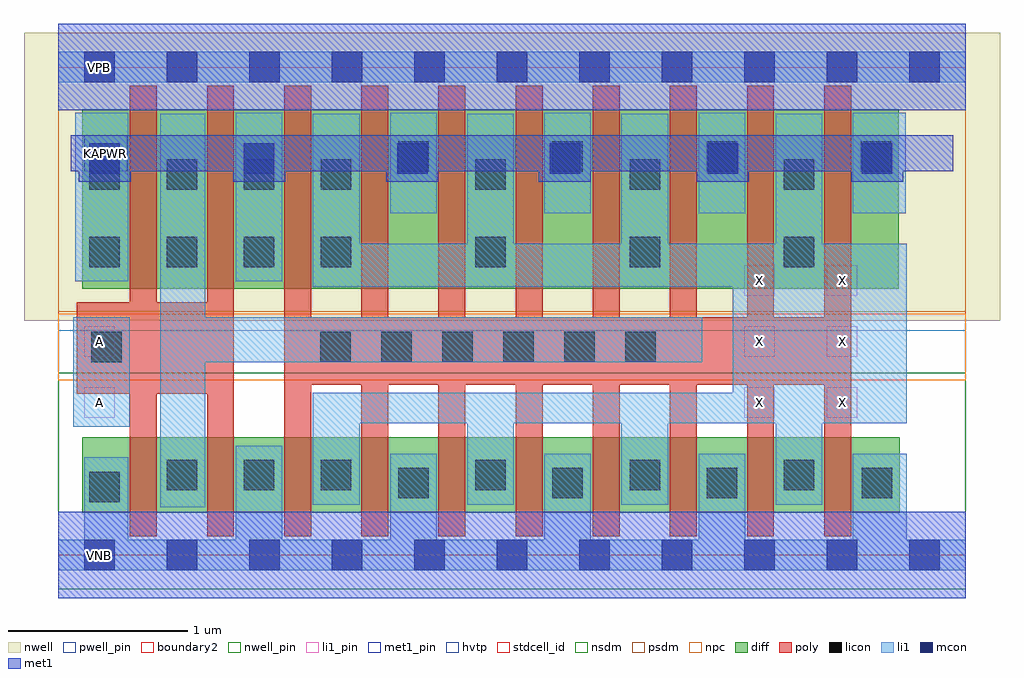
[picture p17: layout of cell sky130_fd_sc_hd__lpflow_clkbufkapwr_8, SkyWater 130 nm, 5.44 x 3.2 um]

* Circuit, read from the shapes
.subckt sky130_fd_sc_hd__lpflow_clkbufkapwr_8 A KAPWR VGND VNB VPB VPWR X
XM1 n1 A VGND VNB sky130_fd_pr__nfet_01v8 w=0.42 l=0.15 m=2
XM2 X n1 VGND VNB sky130_fd_pr__nfet_01v8 w=0.42 l=0.15 m=8
XM3 n1 A KAPWR VPB sky130_fd_pr__pfet_01v8_hvt w=1 l=0.15 m=2
XM4 X n1 KAPWR VPB sky130_fd_pr__pfet_01v8_hvt w=1 l=0.15 m=8
.ends

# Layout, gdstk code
import gdstk
lib = gdstk.Library(unit=1e-6, precision=1e-09)
def R(c, l, rs):  # rectangles x0, y0, x1, y1
    for r in rs: c.add(gdstk.rectangle(r[:2], r[2:], *l))
def A(c, l, x, y, w, h, nx, ny, dx, dy):  # array of equal rectangles
    R(c, l, [(x+i*dx, y+j*dy, x+i*dx+w, y+j*dy+h) for i in range(nx) for j in range(ny)])
def P(c, l, *ps):  # polygons
    for p in ps: c.add(gdstk.Polygon(p, *l))
nwell_pin = (64, 16)
nwell = (64, 20)
diff = (65, 20)
poly = (66, 20)
licon = (66, 44)
li1_pin = (67, 16)
li1 = (67, 20)
mcon = (67, 44)
met1_pin = (68, 16)
met1 = (68, 20)
hvtp = (78, 44)
stdcell_id = (81, 4)
nsdm = (93, 44)
psdm = (94, 20)
npc = (95, 20)
pwell_pin = (122, 16)
boundary2 = (236, 0)

sky130_fd_sc_hd__lpflow_ = lib.new_cell('sky130_fd_sc_hd__lpflow_clkbufkapwr_8')
R(sky130_fd_sc_hd__lpflow_, nwell_pin, [(0.145,2.635,0.315,2.805)])
R(sky130_fd_sc_hd__lpflow_, nwell, [(-0.19,1.305,5.25,2.91)])
R(sky130_fd_sc_hd__lpflow_, diff, [(0.135,0.235,4.69,0.655), (0.135,1.485,4.685,2.485), (0.135,1.485,4.685,2.485), (0.135,1.485,4.685,2.485)])
P(sky130_fd_sc_hd__lpflow_, poly, [(0.98,2.615),(0.83,2.615),(0.83,1.41),(0.55,1.41),(0.55,2.615),(0.4,2.615),(0.4,1.41),(0.105,1.41),(0.105,0.9),(0.4,0.9),(0.4,0.105),(0.55,0.105),(0.55,0.9),(0.83,0.9),(0.83,0.105),(0.98,0.105)],
  [(4.42,2.615),(4.27,2.615),(4.27,1.325),(3.99,1.325),(3.99,2.615),(3.84,2.615),(3.84,1.325),(3.56,1.325),(3.56,2.615),(3.41,2.615),(3.41,1.325),(3.13,1.325),(3.13,2.615),(2.98,2.615),(2.98,1.325),(2.7,1.325),(2.7,2.615),(2.55,2.615),(2.55,1.325),(2.27,1.325),(2.27,2.615),(2.12,2.615),(2.12,1.325),(1.84,1.325),(1.84,2.615),(1.69,2.615),(1.69,1.325),(1.41,1.325),(1.41,2.615),(1.26,2.615),(1.26,0.105),(1.41,0.105),(1.41,0.95),(1.69,0.95),(1.69,0.105),(1.84,0.105),(1.84,0.95),(2.12,0.95),(2.12,0.105),(2.27,0.105),(2.27,0.95),(2.55,0.95),(2.55,0.105),(2.7,0.105),(2.7,0.95),(2.98,0.95),(2.98,0.105),(3.13,0.105),(3.13,0.95),(3.41,0.95),(3.41,0.105),(3.56,0.105),(3.56,0.95),(3.84,0.95),(3.84,0.105),(3.99,0.105),(3.99,0.95),(4.27,0.95),(4.27,0.105),(4.42,0.105)])
A(sky130_fd_sc_hd__lpflow_, licon, 1.895, 0.315, 0.17, 0.17, 3, 1, 0.86, 0)
A(sky130_fd_sc_hd__lpflow_, licon, 0.605, 0.36, 0.17, 0.17, 3, 1, 0.43, 0)
A(sky130_fd_sc_hd__lpflow_, licon, 2.325, 0.36, 0.17, 0.17, 3, 2, 0.86, 1.245)
A(sky130_fd_sc_hd__lpflow_, licon, 1.46, 1.075, 0.17, 0.17, 6, 1, 0.34, 0)
A(sky130_fd_sc_hd__lpflow_, licon, 0.175, 1.605, 0.17, 0.17, 4, 2, 0.43, 0.43)
A(sky130_fd_sc_hd__lpflow_, licon, 2.325, 2.035, 0.17, 0.17, 3, 1, 0.86, 0)
A(sky130_fd_sc_hd__lpflow_, licon, 1.895, 2.135, 0.17, 0.17, 4, 1, 0.86, 0)
R(sky130_fd_sc_hd__lpflow_, licon, [(0.175,0.295,0.345,0.465), (4.48,0.315,4.65,0.485), (0.185,1.075,0.355,1.245)])
A(sky130_fd_sc_hd__lpflow_, li1_pin, 3.825, 0.765, 0.17, 0.17, 1, 3, 0, 0.34)
A(sky130_fd_sc_hd__lpflow_, li1_pin, 4.285, 0.765, 0.17, 0.17, 1, 3, 0, 0.34)
R(sky130_fd_sc_hd__lpflow_, li1_pin, [(0.145,0.765,0.315,0.935), (0.145,1.105,0.315,1.275)])
A(sky130_fd_sc_hd__lpflow_, li1, 1.85, 1.905, 0.26, 0.56, 3, 1, 0.86, 0)
R(sky130_fd_sc_hd__lpflow_, li1, [(0.085,0.715,0.4,1.325), (0.095,1.525,0.39,2.465), (0.99,1.525,1.25,2.465), (4.43,1.905,4.725,2.465), (0,2.635,5.06,2.805)])
P(sky130_fd_sc_hd__lpflow_, li1, [(5.06,0.085),(4.73,0.085),(4.73,0.565),(4.43,0.565),(4.43,0.085),(3.83,0.085),(3.83,0.565),(3.57,0.565),(3.57,0.085),(2.97,0.085),(2.97,0.565),(2.71,0.565),(2.71,0.085),(2.11,0.085),(2.11,0.565),(1.85,0.565),(1.85,0.085),(1.25,0.085),(1.25,0.61),(0.99,0.61),(0.99,0.085),(0.39,0.085),(0.39,0.545),(0.145,0.545),(0.145,0.085),(0,0.085),(0,-0.085),(5.06,-0.085)],
  [(3.59,1.325),(0.82,1.325),(0.82,2.46),(0.57,2.46),(0.57,0.265),(0.82,0.265),(0.82,1.075),(3.59,1.075)],
  [(4.73,1.735),(4.26,1.735),(4.26,2.46),(4,2.46),(4,1.735),(3.4,1.735),(3.4,2.46),(3.14,2.46),(3.14,1.735),(2.54,1.735),(2.54,2.46),(2.28,2.46),(2.28,1.735),(1.68,1.735),(1.68,2.46),(1.42,2.46),(1.42,1.495),(3.76,1.495),(3.76,0.905),(1.42,0.905),(1.42,0.28),(1.68,0.28),(1.68,0.735),(2.28,0.735),(2.28,0.28),(2.54,0.28),(2.54,0.735),(3.14,0.735),(3.14,0.28),(3.4,0.28),(3.4,0.735),(4,0.735),(4,0.28),(4.26,0.28),(4.26,0.735),(4.73,0.735)])
A(sky130_fd_sc_hd__lpflow_, mcon, 0.145, -0.085, 0.17, 0.17, 11, 2, 0.46, 2.72)
R(sky130_fd_sc_hd__lpflow_, mcon, [(0.175,2.125,0.345,2.295), (1.035,2.125,1.205,2.295), (1.89,2.125,2.06,2.295), (2.74,2.125,2.91,2.295), (3.62,2.125,3.79,2.295), (4.48,2.125,4.65,2.295)])
R(sky130_fd_sc_hd__lpflow_, met1_pin, [(0.145,-0.085,0.315,0.085), (0.145,2.14,0.385,2.34), (0.145,2.635,0.315,2.805)])
P(sky130_fd_sc_hd__lpflow_, met1, [(4.99,2.34),(0.07,2.34),(0.07,2.14),(0.115,2.14),(0.115,2.08),(0.405,2.08),(0.405,2.14),(0.975,2.14),(0.975,2.08),(1.265,2.08),(1.265,2.14),(1.83,2.14),(1.83,2.08),(2.12,2.08),(2.12,2.14),(2.68,2.14),(2.68,2.08),(2.97,2.08),(2.97,2.14),(3.56,2.14),(3.56,2.08),(3.85,2.08),(3.85,2.14),(4.42,2.14),(4.42,2.08),(4.71,2.08),(4.71,2.14),(4.99,2.14)])
R(sky130_fd_sc_hd__lpflow_, hvtp, [(0,1.25,5.06,2.72)])
R(sky130_fd_sc_hd__lpflow_, stdcell_id, [(0,0,5.06,2.72)])
R(sky130_fd_sc_hd__lpflow_, nsdm, [(0,-0.19,5.06,1.015)])
R(sky130_fd_sc_hd__lpflow_, psdm, [(0,1.355,5.06,2.91)])
R(sky130_fd_sc_hd__lpflow_, npc, [(0,0.975,5.06,1.345)])
R(sky130_fd_sc_hd__lpflow_, pwell_pin, [(0.145,-0.085,0.315,0.085)])
R(sky130_fd_sc_hd__lpflow_, boundary2, [(0,0,5.06,2.72)])
sky130_fd_sc_hd__lpflow_.add(gdstk.FlexPath([(0,0),(5.06,0)], 0.17, ends="flush", simple_path=True, layer=67, datatype=20))  # li1
sky130_fd_sc_hd__lpflow_.add(gdstk.FlexPath([(0,2.72),(5.06,2.72)], 0.17, ends="flush", simple_path=True, layer=67, datatype=20))  # li1
sky130_fd_sc_hd__lpflow_.add(gdstk.FlexPath([(0,2.72),(5.06,2.72)], 0.48, ends="flush", simple_path=True, layer=68, datatype=20))  # met1
sky130_fd_sc_hd__lpflow_.add(gdstk.FlexPath([(0,0),(5.06,0)], 0.48, ends="flush", simple_path=True, layer=68, datatype=20))  # met1
sky130_fd_sc_hd__lpflow_.add(gdstk.Label('X', (3.91,1.53), layer=67, texttype=5))
sky130_fd_sc_hd__lpflow_.add(gdstk.Label('X', (3.91,0.85), layer=67, texttype=5))
sky130_fd_sc_hd__lpflow_.add(gdstk.Label('A', (0.23,0.85), layer=67, texttype=5))
sky130_fd_sc_hd__lpflow_.add(gdstk.Label('X', (4.37,0.85), layer=67, texttype=5))
sky130_fd_sc_hd__lpflow_.add(gdstk.Label('X', (4.37,1.53), layer=67, texttype=5))
sky130_fd_sc_hd__lpflow_.add(gdstk.Label('X', (3.91,1.19), layer=67, texttype=5))
sky130_fd_sc_hd__lpflow_.add(gdstk.Label('A', (0.23,1.19), layer=67, texttype=5))
sky130_fd_sc_hd__lpflow_.add(gdstk.Label('X', (4.37,1.19), layer=67, texttype=5))
sky130_fd_sc_hd__lpflow_.add(gdstk.Label('VPB', (0.23,2.72), layer=64, texttype=5))
sky130_fd_sc_hd__lpflow_.add(gdstk.Label('VNB', (0.23,0), layer=64, texttype=59))
sky130_fd_sc_hd__lpflow_.add(gdstk.Label('KAPWR', (0.265,2.24), layer=68, texttype=5))
sky130_fd_sc_hd__lpflow_.add(gdstk.Label('VGND', (0.23,0), layer=68, texttype=5))
sky130_fd_sc_hd__lpflow_.add(gdstk.Label('VPWR', (0.23,2.72), layer=68, texttype=5))
sky130_fd_sc_hd__lpflow_.add(gdstk.Label('lpflow_clkbufkapwr_8', (0,0), layer=83, texttype=44))

lib.write_gds('sky130_fd_sc_hd__lpflow_clkbufkapwr_8.gds')
